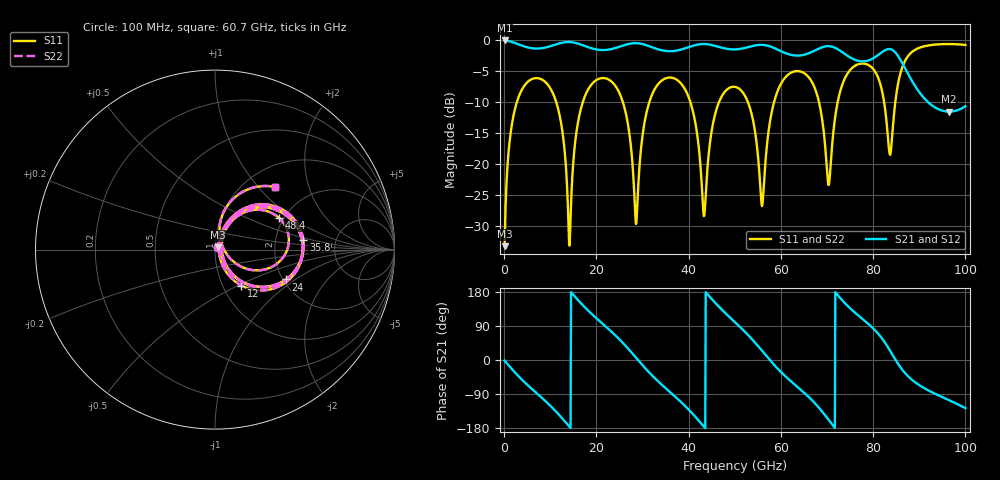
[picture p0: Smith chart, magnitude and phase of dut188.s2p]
! Touchstone file exported from HFSS 2026.1.0
!  File:  C:/ffzhzh/LocalFiles/Ansys_Project_Files/temp_train_TSV_RDL_188_1783654823_26216.aedt
!  Generated:  11:55:11 AM Jul 10, 2026
!  Design:  TSV_RDL
!  Project:  temp_train_TSV_RDL_188_1783654823_26216
! Variables:
!  h_bsmrdl = 4.25um
!  h_ox = 20um
!  h_rdl = 5um
!  h_sub = 68.76um
!  h_tmrdl = 3.7um
!  h_tsv = 68.76um
!  h_via = 3um
!  l_bsmrdl = 592.33um
!  l_sub = 4275.65um
!  l_tmrdl = 491.83um
!  m_sub = 200um
!  pitch = 46.78um
!  r_tsv = 9.9um
!  s_tmrdl = 10um
!  w_bsmrdl = 21.42um
!  w_sub = 500um
!  w_tmrdl = 22.36um
!  x_tsv_center1 = 503.01um
!  x_tsv_center2 = 1116.76um
!  x_tsv_center3 = 1630.95um
!  x_tsv_center4 = 2244.7um
!  x_tsv_center5 = 2758.89um
!  x_tsv_center6 = 3372.64um
# GHz S MA R 50.000000
! Terminal data exported
! Port[1] = TM_RDL1_1_T1
! Port[2] = TM_RDL5_1_T1
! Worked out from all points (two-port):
!   1000 points, 100 MHz to 100 GHz, reference 50 ohm
!   highest |S21| = -0.15 dB at 100 MHz (marker M1); lowest = -11.6 dB at 96.5 GHz (marker M2)
!   |S21| within 3 dB of the highest: start of sweep to 75.71 GHz; 79.67 GHz to 85.82 GHz (6.147 GHz wide, 7.43 % of centre)
!   lowest |S11| = -33.2 dB at 100 MHz (marker M3), VSWR 1.04, Z = 51.7 + j1.42 ohm
!   |S11| at or under -10 dB: 11.26 GHz to 17.08 GHz (5.816 GHz wide, 41 % of centre); 25.71 GHz to 31.5 GHz (5.793 GHz wide, 20.3 % of centre); 40.35 GHz to 46.61 GHz (6.267 GHz wide, 14.4 % of centre) (the widest 3 of 7)
!   |S22| runs from -33.2 to -0.7 dB; largest |S21 - S12| = 1.6e-14
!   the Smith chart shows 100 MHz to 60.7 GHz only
!   S11 on the Smith chart (normalised r, x): 100 MHz: 1.03, +0.03; 12 GHz: 1.22, -0.52; 24 GHz: 2.08, -0.85; 35.8 GHz: 2.90, +0.40; 48.4 GHz: 1.90, +0.79; 60.7 GHz: 1.36, +1.23
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0.1  0.0218 39.2  0.9834 -1.5  0.9834 -1.5  0.0218 39.2
! Gamma 0 0 0 0
! Port Impedance 50 0 50 0
3.7  0.386 36.5  0.8985 -50.1  0.8985 -50.1  0.386 36.5
12  0.2483 -53.8  0.9323 -146.0  0.9323 -146.0  0.2483 -53.7
14.2  0.02201 16.6  0.9552 -176.6  0.9552 -176.6  0.02249 16.4
16.8  0.2922 52.8  0.9071 147.9  0.9071 147.9  0.2923 52.7
24  0.4296 -22.8  0.852 66.3  0.852 66.3  0.4297 -22.9
28.6  0.03287 4.1  0.9352 5.9  0.9352 5.9  0.03159 4.0
33.4  0.439 30.3  0.8339 -56.6  0.8339 -56.6  0.4389 30.5
35.8  0.4948 6.0  0.8058 -82.9  0.8058 -82.9  0.4948 6.1
43.3  0.03797 -1.5  0.9205 -175.5  0.9205 -175.5  0.03893 -1.6
48.4  0.3989 26.1  0.841 118.6  0.841 118.6  0.3988 25.9
50.1  0.416 8.7  0.8335 99.1  0.8335 99.1  0.4159 8.5
55.9  0.04582 21.4  0.907 24.4  0.907 24.4  0.04436 21.4
60.7  0.4828 46.3  0.7858 -39.8  0.7858 -39.8  0.4828 46.4
66.7  0.4575 -11.7  0.7951 -105.6  0.7951 -105.6  0.4578 -11.5
70.3  0.06785 14.0  0.8849 -157.2  0.8849 -157.2  0.07031 14.2
72.1  0.2855 70.9  0.845 174.6  0.845 174.6  0.2859 70.4
79.2  0.617 4.6  0.6838 92.5  0.6838 92.5  0.6168 4.4
83.4  0.1354 -3.2  0.8388 30.0  0.8388 30.0  0.1335 -3.8
87.1  0.6938 44.1  0.5703 -36.9  0.5703 -36.9  0.6936 44.2
96.5  0.9201 -16.8  0.2633 -106.3  0.2633 -106.3  0.9201 -16.8
100  0.9047 -35.4  0.2912 -127.1  0.2912 -127.1  0.9047 -35.4
